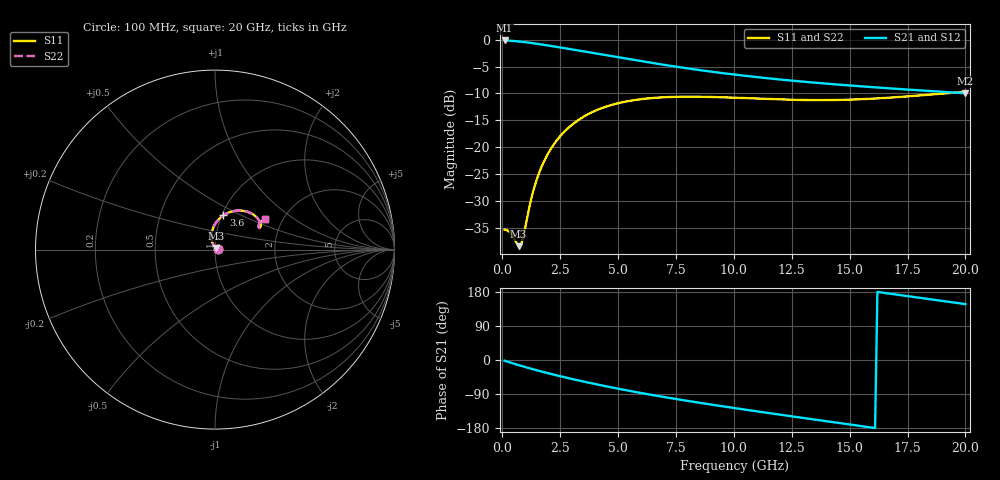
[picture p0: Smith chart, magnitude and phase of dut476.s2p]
! Touchstone file exported from HFSS 2024.1.0
!  File:  C:/UserFiles/LocalFiles/RDL_TSV_Batchsim/temp_RDL_TSV_476_1779731304.aedt
!  Generated:  02:01:19 AM May 26, 2026
!  Design:  RDL_TSV
!  Project:  temp_RDL_TSV_476_1779731304
!  Setup:  Setup1
!  Solution:  Sweep
! Variables:
!  dtsv = 14.27um
!  hbump = 3um
!  htsv = 58.63um
!  ldown = 630.42um
!  lrdl = 319.94um
!  p = 40
!  p1 = 56.26um
!  rhole = 10um
!  subl = 3171.02um
!  t = 450um
!  tdown = 2.74um
!  trdl = 3.16um
!  viad = 10um
!  wdown = 22.64um
!  wrdl = 23.59um
!  xbump = 18um
# GHz S MA R 50.000000
! Terminal data exported
! Port[1] = TM1_1_T1
! Port[2] = TM1_4_T1
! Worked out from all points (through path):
!   200 points, 100 MHz to 20 GHz, reference 50 ohm
!   highest |S21| = -0.16 dB at 100 MHz (marker M1); lowest = -10.0 dB at 20 GHz (marker M2)
!   group delay of S21, straight-line fit = 27.7 ps
!   lowest |S11| = -38.4 dB at 700 MHz (marker M3), VSWR 1.02, Z = 50.8 + j0.899 ohm
!   |S11| at or under -10 dB: start of sweep to 19.14 GHz
!   |S22| runs from -38.4 to -9.7 dB; largest |S21 - S12| = 4.7e-14
!   S11 on the Smith chart (normalised r, x): 100 MHz: 1.03, +0.00; 3.6 GHz: 1.02, +0.40; 20 GHz: 1.64, +0.62
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0.1  0.01709 4.1  0.9823 -2.0  0.9823 -2.0  0.01709 4.1
! Gamma 0 0 0 0
! Port Impedance 50 0 50 0
0.4  0.01553 17.1  0.9746 -7.8  0.9746 -7.8  0.01554 17.0
0.7  0.012 47.5  0.9621 -13.5  0.9621 -13.5  0.01199 47.4
0.8  0.01223 66.8  0.9571 -15.3  0.9571 -15.3  0.01222 66.7
0.9  0.01439 85.0  0.9517 -17.1  0.9517 -17.1  0.01438 84.9
1.2  0.0298 108.5  0.9338 -22.3  0.9338 -22.3  0.02975 108.4
1.4  0.04356 110.3  0.9209 -25.7  0.9209 -25.7  0.04348 110.2
1.6  0.05837 108.7  0.9075 -29.0  0.9075 -29.0  0.05827 108.7
1.9  0.08127 104.3  0.8869 -33.7  0.8869 -33.7  0.08114 104.3
2.2  0.1041 99.1  0.8662 -38.3  0.8662 -38.3  0.1039 99.1
2.6  0.1334 92.1  0.8387 -44.3  0.8387 -44.3  0.1332 92.1
3.5  0.1913 77.6  0.7786 -56.8  0.7786 -56.8  0.1909 77.5
3.6  0.1968 76.1  0.772 -58.1  0.772 -58.1  0.1965 76.1
4.3  0.2307 66.5  0.7276 -67.2  0.7276 -67.2  0.2303 66.5
5  0.2561 58.3  0.6855 -75.7  0.6855 -75.7  0.2556 58.3
6.8  0.2896 42.3  0.5912 -95.8  0.5912 -95.8  0.2889 42.3
8.4  0.2945 33.3  0.5251 -111.8  0.5251 -111.8  0.2937 33.3
10.1  0.2878 27.8  0.471 -127.5  0.471 -127.5  0.2869 27.9
11.7  0.279 26.0  0.4319 -141.7  0.4319 -141.7  0.2781 26.0
13.4  0.2739 26.5  0.3993 -156.5  0.3993 -156.5  0.273 26.6
16.7  0.2883 30.3  0.3524 175.4  0.3524 175.4  0.2877 30.4
20  0.3273 30.8  0.3175 147.4  0.3175 147.4  0.3271 31.0
